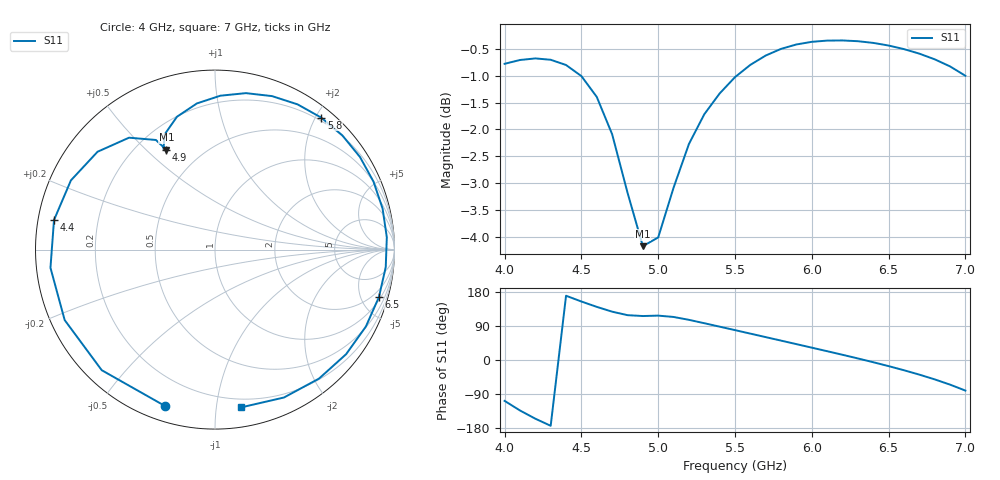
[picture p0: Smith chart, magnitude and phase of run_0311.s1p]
! Touchstone file exported from HFSS 2024.2.0
!  File:  C:/Users/wsak9/Desktop/Sim Fast/Widenad Patch/WP_AI_V1_sweep.aedt
!  Generated:  04:09:53 AM Oct 14, 2026
!  Design:  A1_model
!  Project:  WP_AI_V1_sweep
!  Setup:  Setup1
!  Solution:  Sweep
! Variables:
!  Air_gap = 4.24mm
!  Curve_Amp1 = 1.51
!  Curve_len1 = 1
!  Curve_pos = 11.67mm
!  Extra = 7.46mm
!  H_sub = 0.79mm
!  L_Patch = 19.34mm
!  L_Patch1 = 16.68mm
!  Sx = 4.9mm
!  Sy = 4.03mm
!  WS = 0.23mm
!  W_Patch = 17.33mm
!  W_Patch1 = 9.22mm
!Data is not renormalized
# GHz S MA
! Terminal data exported
! Port[1] = 1
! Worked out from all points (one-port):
!   31 points, 4 GHz to 7 GHz, reference per port
!   lowest |S11| = -4.2 dB at 4.9 GHz (marker M1), VSWR 4.24
!   |S11| at or under -10 dB: nowhere
!   S11 on the Smith chart (normalised r, x): 4 GHz: 0.07, -0.73; 4.4 GHz: 0.05, +0.09; 4.9 GHz: 0.32, +0.58; 5.8 GHz: 0.15, +2.08; 6.5 GHz: 1.23, -6.82; 7 GHz: 0.14, -1.17
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4  0.9144 -107.9
4.1  0.9218 -133.2
4.2  0.925 -154.9
4.3  0.9223 -173.7
4.4  0.912 169.6
4.5  0.8906 154.3
4.6  0.8517 140.2
4.7  0.7863 127.5
4.8  0.6938 118.3
4.9  0.6185 116.0
5  0.6302 117.1
5.1  0.701 113.6
5.2  0.7699 106.0
5.3  0.8206 97.1
5.4  0.858 88.0
5.5  0.8886 78.8
5.6  0.9123 69.6
5.8  0.9441 51.1
5.9  0.9531 41.9
6.1  0.961 23.2
6.3  0.9597 4.1
6.4  0.9563 -5.8
6.5  0.9509 -16.2
6.6  0.9436 -27.0
6.7  0.9345 -38.6
6.8  0.9232 -51.1
6.9  0.9093 -65.0
7  0.8912 -80.7
